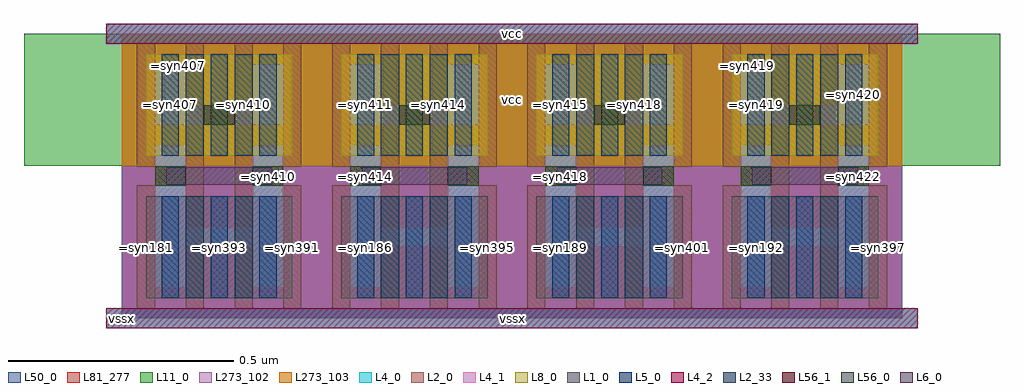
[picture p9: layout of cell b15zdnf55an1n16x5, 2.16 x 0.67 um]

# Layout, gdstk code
import gdstk
lib = gdstk.Library(unit=1e-6, precision=5e-10)
def R(c, l, rs):  # rectangles x0, y0, x1, y1
    for r in rs: c.add(gdstk.rectangle(r[:2], r[2:], *l))
def A(c, l, x, y, w, h, nx, ny, dx, dy):  # array of equal rectangles
    R(c, l, [(x+i*dx, y+j*dy, x+i*dx+w, y+j*dy+h) for i in range(nx) for j in range(ny)])
def P(c, l, *ps):  # polygons
    for p in ps: c.add(gdstk.Polygon(p, *l))
L1_0 = (1, 0)
L2_0 = (2, 0)
L2_33 = (2, 33)
L4_0 = (4, 0)
L4_1 = (4, 1)
L4_2 = (4, 2)
L5_0 = (5, 0)
L6_0 = (6, 0)
L8_0 = (8, 0)
L11_0 = (11, 0)
L50_0 = (50, 0)
L56_0 = (56, 0)
L56_1 = (56, 1)
L81_277 = (81, 277)
L273_102 = (273, 102)
L273_103 = (273, 103)

b15zdnf55an1n16x5 = lib.new_cell('b15zdnf55an1n16x5')
A(b15zdnf55an1n16x5, L1_0, 0.054, 0.045, 0.324, 0.225, 4, 1, 0.432, 0)
R(b15zdnf55an1n16x5, L2_0, [(0.034,0.021,0.074,0.294), (0.142,0.021,0.182,0.609), (0.25,0.021,0.29,0.609), (0.358,0.021,0.398,0.294), (0.466,0.021,0.506,0.294), (0.574,0.021,0.614,0.609), (0.682,0.021,0.722,0.609), (0.79,0.021,0.83,0.294), (0.898,0.021,0.938,0.294), (1.006,0.021,1.046,0.609), (1.114,0.021,1.154,0.609), (1.222,0.021,1.262,0.294), (1.33,0.021,1.37,0.294), (1.438,0.021,1.478,0.609), (1.546,0.021,1.586,0.609), (1.654,0.021,1.694,0.294), (0.034,0.336,0.074,0.609), (0.358,0.336,0.398,0.609), (0.466,0.336,0.506,0.609), (0.79,0.336,0.83,0.609), (0.898,0.336,0.938,0.609), (1.222,0.336,1.262,0.609), (1.33,0.336,1.37,0.609), (1.654,0.336,1.694,0.609)])
R(b15zdnf55an1n16x5, L2_33, [(0.142,0.045,0.182,0.27), (0.25,0.045,0.29,0.27), (0.574,0.045,0.614,0.27), (0.682,0.045,0.722,0.27), (1.006,0.045,1.046,0.27), (1.114,0.045,1.154,0.27), (1.438,0.045,1.478,0.27), (1.546,0.045,1.586,0.27), (0.142,0.36,0.182,0.585), (0.25,0.36,0.29,0.585), (0.574,0.36,0.614,0.585), (0.682,0.36,0.722,0.585), (1.006,0.36,1.046,0.585), (1.114,0.36,1.154,0.585), (1.438,0.36,1.478,0.585), (1.546,0.36,1.586,0.585)])
R(b15zdnf55an1n16x5, L4_0, [(-0.034,-0.022,1.762,0.022), (-0.034,0.608,1.762,0.652)])
P(b15zdnf55an1n16x5, L4_0, [(0.358,0.428),(0.074,0.428),(0.074,0.562),(0.142,0.562),(0.142,0.472),(0.29,0.472),(0.29,0.562),(0.358,0.562)],
  [(0.358,0.068),(0.29,0.068),(0.29,0.158),(0.142,0.158),(0.142,0.068),(0.074,0.068),(0.074,0.382),(0.142,0.382),(0.142,0.202),(0.29,0.202),(0.29,0.382),(0.358,0.382)],
  [(0.79,0.428),(0.506,0.428),(0.506,0.562),(0.574,0.562),(0.574,0.472),(0.722,0.472),(0.722,0.562),(0.79,0.562)],
  [(0.79,0.068),(0.722,0.068),(0.722,0.158),(0.574,0.158),(0.574,0.068),(0.506,0.068),(0.506,0.382),(0.574,0.382),(0.574,0.202),(0.722,0.202),(0.722,0.382),(0.79,0.382)],
  [(1.222,0.428),(0.938,0.428),(0.938,0.562),(1.006,0.562),(1.006,0.472),(1.154,0.472),(1.154,0.562),(1.222,0.562)],
  [(1.222,0.068),(1.154,0.068),(1.154,0.158),(1.006,0.158),(1.006,0.068),(0.938,0.068),(0.938,0.382),(1.006,0.382),(1.006,0.202),(1.154,0.202),(1.154,0.382),(1.222,0.382)],
  [(1.654,0.428),(1.37,0.428),(1.37,0.562),(1.438,0.562),(1.438,0.472),(1.586,0.472),(1.586,0.562),(1.654,0.562)],
  [(1.654,0.068),(1.586,0.068),(1.586,0.158),(1.438,0.158),(1.438,0.068),(1.37,0.068),(1.37,0.382),(1.438,0.382),(1.438,0.202),(1.586,0.202),(1.586,0.382),(1.654,0.382)])
P(b15zdnf55an1n16x5, L4_1, [(0.358,0.428),(0.074,0.428),(0.074,0.562),(0.142,0.562),(0.142,0.472),(0.29,0.472),(0.29,0.562),(0.358,0.562)],
  [(0.358,0.068),(0.29,0.068),(0.29,0.158),(0.142,0.158),(0.142,0.068),(0.074,0.068),(0.074,0.382),(0.142,0.382),(0.142,0.202),(0.29,0.202),(0.29,0.382),(0.358,0.382)],
  [(0.79,0.428),(0.506,0.428),(0.506,0.562),(0.574,0.562),(0.574,0.472),(0.722,0.472),(0.722,0.562),(0.79,0.562)],
  [(0.79,0.068),(0.722,0.068),(0.722,0.158),(0.574,0.158),(0.574,0.068),(0.506,0.068),(0.506,0.382),(0.574,0.382),(0.574,0.202),(0.722,0.202),(0.722,0.382),(0.79,0.382)],
  [(1.222,0.428),(0.938,0.428),(0.938,0.562),(1.006,0.562),(1.006,0.472),(1.154,0.472),(1.154,0.562),(1.222,0.562)],
  [(1.222,0.068),(1.154,0.068),(1.154,0.158),(1.006,0.158),(1.006,0.068),(0.938,0.068),(0.938,0.382),(1.006,0.382),(1.006,0.202),(1.154,0.202),(1.154,0.382),(1.222,0.382)],
  [(1.654,0.428),(1.37,0.428),(1.37,0.562),(1.438,0.562),(1.438,0.472),(1.586,0.472),(1.586,0.562),(1.654,0.562)],
  [(1.654,0.068),(1.586,0.068),(1.586,0.158),(1.438,0.158),(1.438,0.068),(1.37,0.068),(1.37,0.382),(1.438,0.382),(1.438,0.202),(1.586,0.202),(1.586,0.382),(1.654,0.382)])
R(b15zdnf55an1n16x5, L4_2, [(-0.034,-0.022,1.762,0.022), (-0.034,0.608,1.762,0.652)])
A(b15zdnf55an1n16x5, L5_0, 0.089, 0.045, 0.038, 0.225, 3, 2, 0.108, 0.315)
A(b15zdnf55an1n16x5, L5_0, 0.521, 0.045, 0.038, 0.225, 3, 2, 0.108, 0.315)
A(b15zdnf55an1n16x5, L5_0, 0.953, 0.045, 0.038, 0.225, 3, 2, 0.108, 0.315)
A(b15zdnf55an1n16x5, L5_0, 1.385, 0.045, 0.038, 0.225, 3, 2, 0.108, 0.315)
A(b15zdnf55an1n16x5, L6_0, 0.099, 0.296, 0.234, 0.038, 4, 1, 0.432, 0)
A(b15zdnf55an1n16x5, L8_0, 0.054, 0.36, 0.324, 0.225, 4, 1, 0.432, 0)
R(b15zdnf55an1n16x5, L11_0, [(-0.216,0.3375,1.944,0.63)])
R(b15zdnf55an1n16x5, L50_0, [(0,0,1.728,0.63)])
A(b15zdnf55an1n16x5, L56_0, 0.074, 0.293, 0.068, 0.044, 8, 1, 0.216, 0)
A(b15zdnf55an1n16x5, L56_0, 0.182, 0.428, 0.068, 0.044, 4, 1, 0.432, 0)
A(b15zdnf55an1n16x5, L56_1, 0.074, 0.293, 0.068, 0.044, 8, 1, 0.216, 0)
A(b15zdnf55an1n16x5, L56_1, 0.182, 0.428, 0.068, 0.044, 4, 1, 0.432, 0)
R(b15zdnf55an1n16x5, L81_277, [(0,0,1.728,0.63)])
R(b15zdnf55an1n16x5, L273_102, [(0,0,1.728,0.3375)])
R(b15zdnf55an1n16x5, L273_103, [(0,0.3375,1.728,0.63)])
b15zdnf55an1n16x5.add(gdstk.Label('vssx', (0,0), layer=81, texttype=6))
b15zdnf55an1n16x5.add(gdstk.Label('vcc', (0.864,0.484), layer=11, texttype=0))
b15zdnf55an1n16x5.add(gdstk.Label('=syn407', (0.108,0.4725), layer=8, texttype=0))
b15zdnf55an1n16x5.add(gdstk.Label('=syn411', (0.54,0.4725), layer=8, texttype=0))
b15zdnf55an1n16x5.add(gdstk.Label('=syn415', (0.972,0.4725), layer=8, texttype=0))
b15zdnf55an1n16x5.add(gdstk.Label('=syn419', (1.404,0.4725), layer=8, texttype=0))
b15zdnf55an1n16x5.add(gdstk.Label('=syn408', (0.108,0.495), layer=4, texttype=0))
b15zdnf55an1n16x5.add(gdstk.Label('=syn410', (0.324,0.315), layer=4, texttype=0))
b15zdnf55an1n16x5.add(gdstk.Label('=syn412', (0.648,0.45), layer=4, texttype=0))
b15zdnf55an1n16x5.add(gdstk.Label('=syn414', (0.54,0.315), layer=4, texttype=0))
b15zdnf55an1n16x5.add(gdstk.Label('=syn416', (1.08,0.45), layer=4, texttype=0))
b15zdnf55an1n16x5.add(gdstk.Label('=syn418', (0.972,0.315), layer=4, texttype=0))
b15zdnf55an1n16x5.add(gdstk.Label('=syn420', (1.62,0.495), layer=4, texttype=0))
b15zdnf55an1n16x5.add(gdstk.Label('=syn422', (1.62,0.315), layer=4, texttype=0))
b15zdnf55an1n16x5.add(gdstk.Label('vcc', (0.864,0.63), layer=4, texttype=0))
b15zdnf55an1n16x5.add(gdstk.Label('vssx', (0.864,0), layer=4, texttype=0))
b15zdnf55an1n16x5.add(gdstk.Label('vcc', (0.864,0.63), layer=4, texttype=2))
b15zdnf55an1n16x5.add(gdstk.Label('vssx', (0.864,0), layer=4, texttype=2))
b15zdnf55an1n16x5.add(gdstk.Label('=syn182', (0.054,0.4725), layer=2, texttype=0))
b15zdnf55an1n16x5.add(gdstk.Label('=syn181', (0.054,0.1575), layer=2, texttype=0))
b15zdnf55an1n16x5.add(gdstk.Label('=syn410', (0.162,0.4725), layer=2, texttype=0))
b15zdnf55an1n16x5.add(gdstk.Label('=syn410', (0.27,0.4725), layer=2, texttype=0))
b15zdnf55an1n16x5.add(gdstk.Label('=syn392', (0.378,0.4725), layer=2, texttype=0))
b15zdnf55an1n16x5.add(gdstk.Label('=syn391', (0.378,0.1575), layer=2, texttype=0))
b15zdnf55an1n16x5.add(gdstk.Label('=syn185', (0.486,0.4725), layer=2, texttype=0))
b15zdnf55an1n16x5.add(gdstk.Label('=syn184', (0.486,0.1575), layer=2, texttype=0))
b15zdnf55an1n16x5.add(gdstk.Label('=syn414', (0.594,0.4725), layer=2, texttype=0))
b15zdnf55an1n16x5.add(gdstk.Label('=syn414', (0.702,0.4725), layer=2, texttype=0))
b15zdnf55an1n16x5.add(gdstk.Label('=syn396', (0.81,0.4725), layer=2, texttype=0))
b15zdnf55an1n16x5.add(gdstk.Label('=syn395', (0.81,0.1575), layer=2, texttype=0))
b15zdnf55an1n16x5.add(gdstk.Label('=syn188', (0.918,0.4725), layer=2, texttype=0))
b15zdnf55an1n16x5.add(gdstk.Label('=syn187', (0.918,0.1575), layer=2, texttype=0))
b15zdnf55an1n16x5.add(gdstk.Label('=syn418', (1.026,0.4725), layer=2, texttype=0))
b15zdnf55an1n16x5.add(gdstk.Label('=syn418', (1.134,0.4725), layer=2, texttype=0))
b15zdnf55an1n16x5.add(gdstk.Label('=syn404', (1.242,0.4725), layer=2, texttype=0))
b15zdnf55an1n16x5.add(gdstk.Label('=syn401', (1.242,0.1575), layer=2, texttype=0))
b15zdnf55an1n16x5.add(gdstk.Label('=syn191', (1.35,0.4725), layer=2, texttype=0))
b15zdnf55an1n16x5.add(gdstk.Label('=syn190', (1.35,0.1575), layer=2, texttype=0))
b15zdnf55an1n16x5.add(gdstk.Label('=syn422', (1.458,0.4725), layer=2, texttype=0))
b15zdnf55an1n16x5.add(gdstk.Label('=syn422', (1.566,0.4725), layer=2, texttype=0))
b15zdnf55an1n16x5.add(gdstk.Label('=syn400', (1.674,0.4725), layer=2, texttype=0))
b15zdnf55an1n16x5.add(gdstk.Label('=syn397', (1.674,0.1575), layer=2, texttype=0))
b15zdnf55an1n16x5.add(gdstk.Label('=syn394', (0.324,0.1575), layer=1, texttype=0))
b15zdnf55an1n16x5.add(gdstk.Label('=syn399', (0.756,0.1575), layer=1, texttype=0))
b15zdnf55an1n16x5.add(gdstk.Label('=syn406', (1.188,0.1575), layer=1, texttype=0))
b15zdnf55an1n16x5.add(gdstk.Label('=syn403', (1.62,0.1575), layer=1, texttype=0))
b15zdnf55an1n16x5.add(gdstk.Label('=syn410', (0.324,0.315), layer=6, texttype=0))
b15zdnf55an1n16x5.add(gdstk.Label('=syn414', (0.54,0.315), layer=6, texttype=0))
b15zdnf55an1n16x5.add(gdstk.Label('=syn418', (0.972,0.315), layer=6, texttype=0))
b15zdnf55an1n16x5.add(gdstk.Label('=syn422', (1.591,0.315), layer=6, texttype=0))
b15zdnf55an1n16x5.add(gdstk.Label('=syn407', (0.126,0.56), layer=5, texttype=0))
b15zdnf55an1n16x5.add(gdstk.Label('=syn183', (0.108,0.1575), layer=5, texttype=0))
b15zdnf55an1n16x5.add(gdstk.Label('=syn408', (0.216,0.45), layer=5, texttype=0))
b15zdnf55an1n16x5.add(gdstk.Label('=syn393', (0.216,0.1575), layer=5, texttype=0))
b15zdnf55an1n16x5.add(gdstk.Label('=syn409', (0.324,0.4725), layer=5, texttype=0))
b15zdnf55an1n16x5.add(gdstk.Label('=syn394', (0.324,0.1575), layer=5, texttype=0))
b15zdnf55an1n16x5.add(gdstk.Label('=syn411', (0.54,0.4725), layer=5, texttype=0))
b15zdnf55an1n16x5.add(gdstk.Label('=syn186', (0.54,0.1575), layer=5, texttype=0))
b15zdnf55an1n16x5.add(gdstk.Label('=syn412', (0.648,0.45), layer=5, texttype=0))
b15zdnf55an1n16x5.add(gdstk.Label('=syn398', (0.648,0.1575), layer=5, texttype=0))
b15zdnf55an1n16x5.add(gdstk.Label('=syn413', (0.756,0.4725), layer=5, texttype=0))
b15zdnf55an1n16x5.add(gdstk.Label('=syn399', (0.756,0.1575), layer=5, texttype=0))
b15zdnf55an1n16x5.add(gdstk.Label('=syn415', (0.972,0.4725), layer=5, texttype=0))
b15zdnf55an1n16x5.add(gdstk.Label('=syn189', (0.972,0.1575), layer=5, texttype=0))
b15zdnf55an1n16x5.add(gdstk.Label('=syn416', (1.08,0.45), layer=5, texttype=0))
b15zdnf55an1n16x5.add(gdstk.Label('=syn405', (1.08,0.1575), layer=5, texttype=0))
b15zdnf55an1n16x5.add(gdstk.Label('=syn417', (1.188,0.4725), layer=5, texttype=0))
b15zdnf55an1n16x5.add(gdstk.Label('=syn406', (1.188,0.1575), layer=5, texttype=0))
b15zdnf55an1n16x5.add(gdstk.Label('=syn419', (1.386,0.56), layer=5, texttype=0))
b15zdnf55an1n16x5.add(gdstk.Label('=syn192', (1.404,0.1575), layer=5, texttype=0))
b15zdnf55an1n16x5.add(gdstk.Label('=syn420', (1.512,0.45), layer=5, texttype=0))
b15zdnf55an1n16x5.add(gdstk.Label('=syn402', (1.512,0.1575), layer=5, texttype=0))
b15zdnf55an1n16x5.add(gdstk.Label('=syn421', (1.62,0.4725), layer=5, texttype=0))
b15zdnf55an1n16x5.add(gdstk.Label('=syn403', (1.62,0.1575), layer=5, texttype=0))

lib.write_gds('b15zdnf55an1n16x5.gds')
